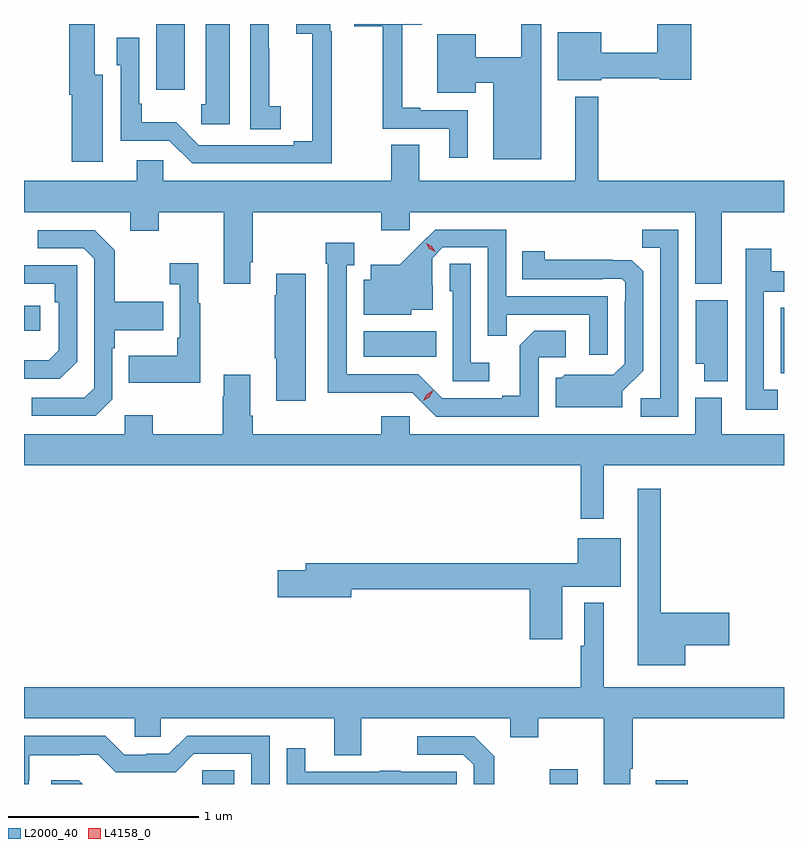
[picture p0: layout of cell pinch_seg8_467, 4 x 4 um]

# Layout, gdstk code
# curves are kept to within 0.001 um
import gdstk
lib = gdstk.Library(unit=1e-6, precision=1e-09)
def R(c, l, rs):  # rectangles x0, y0, x1, y1
    for r in rs: c.add(gdstk.rectangle(r[:2], r[2:], *l))
def P(c, l, *ps):  # polygons
    for p in ps: c.add(gdstk.Polygon(p, *l))
L2000_40 = (2000, 40)
L4158_0 = (4158, 0)

pinch_seg8_467 = lib.new_cell('pinch_seg8_467')
R(pinch_seg8_467, L2000_40, [(214.446,1140.13,214.614,1140.203), (216.273,1140.13,216.421,1140.208), (216.833,1140.13,217.001,1140.151), (217.49,1142.293,217.507,1142.636), (215.294,1142.378,215.678,1142.512), (213.507,1142.516,213.592,1142.646), (214.202,1143.783,214.354,1144.13)])
P(pinch_seg8_467, L2000_40, [(213.922,1143.862),(213.88,1143.862),(213.88,1144.13),(213.746,1144.13),(213.746,1143.758),(213.758,1143.758),(213.758,1143.405),(213.922,1143.405)],
  [(215.126,1144.091),(215.12,1144.091),(215.12,1144.13),(214.941,1144.13),(214.941,1144.078),(215.023,1144.078),(215.024,1143.512),(214.928,1143.512),(214.928,1143.492),(214.428,1143.492),(214.307,1143.613),(214.126,1143.613),(214.126,1143.709),(214.113,1143.709),(214.113,1144.057),(213.996,1144.057),(213.996,1143.912),(214.017,1143.912),(214.017,1143.516),(214.272,1143.516),(214.392,1143.396),(215.126,1143.396)],
  [(216.229,1144.13),(216.125,1144.13),(216.125,1143.956),(215.884,1143.956),(215.884,1144.077),(215.681,1144.077),(215.681,1143.767),(215.884,1143.767),(215.884,1143.82),(215.978,1143.82),(215.978,1143.419),(216.229,1143.419)],
  [(214.858,1143.697),(214.797,1143.697),(214.797,1144.001),(214.795,1144.001),(214.795,1144.13),(214.698,1144.13),(214.698,1143.577),(214.858,1143.577)],
  [(215.842,1143.675),(215.593,1143.675),(215.593,1143.688),(215.498,1143.688),(215.498,1144.125),(215.597,1144.125),(215.602,1144.13),(215.244,1144.13),(215.244,1144.117),(215.395,1144.117),(215.395,1143.579),(215.744,1143.579),(215.744,1143.426),(215.842,1143.426)],
  [(214.591,1144.13),(214.463,1144.13),(214.463,1143.708),(214.441,1143.708),(214.441,1143.603),(214.591,1143.603)],
  [(216.544,1143.844),(216.852,1143.844),(216.852,1143.836),(217.019,1143.836),(217.019,1144.13),(216.841,1144.13),(216.841,1143.98),(216.544,1143.98),(216.544,1144.087),(216.317,1144.087),(216.317,1143.833),(216.544,1143.833)],
  [(217.18,1143.14),(217.507,1143.14),(217.507,1143.304),(216.529,1143.304),(216.529,1143.748),(216.407,1143.748),(216.407,1143.304),(215.587,1143.304),(215.587,1143.494),(215.44,1143.494),(215.44,1143.304),(214.239,1143.304),(214.239,1143.414),(214.1,1143.414),(214.1,1143.304),(213.507,1143.304),(213.507,1143.14),(214.067,1143.14),(214.067,1143.041),(214.215,1143.041),(214.215,1143.14),(214.559,1143.14),(214.559,1142.763),(214.699,1142.763),(214.699,1142.875),(214.712,1142.875),(214.712,1143.14),(215.387,1143.14),(215.387,1143.045),(215.538,1143.045),(215.538,1143.14),(217.04,1143.14),(217.04,1142.762),(217.18,1142.762)],
  [(216.579,1142.697),(216.045,1142.697),(216.045,1143.048),(215.672,1143.048),(215.485,1142.863),(215.333,1142.863),(215.333,1142.785),(215.294,1142.785),(215.294,1142.6),(215.544,1142.6),(215.544,1142.627),(215.659,1142.627),(215.659,1142.756),(215.655,1142.756),(215.655,1142.898),(215.712,1142.955),(215.949,1142.955),(215.949,1142.488),(216.047,1142.488),(216.047,1142.601),(216.483,1142.601),(216.483,1142.388),(216.579,1142.388)],
  [(216.951,1143.048),(216.76,1143.048),(216.76,1142.953),(216.855,1142.953),(216.855,1142.16),(216.753,1142.16),(216.753,1142.064),(216.951,1142.064)],
  [(213.972,1142.154),(213.972,1142.423),(213.985,1142.423),(213.985,1142.519),(214.241,1142.519),(214.241,1142.667),(213.985,1142.667),(213.985,1142.939),(213.879,1143.045),(213.579,1143.045),(213.579,1142.949),(213.822,1142.949),(213.876,1142.895),(213.876,1142.214),(213.825,1142.163),(213.549,1142.163),(213.549,1142.067),(213.885,1142.067)],
  [(216.216,1142.376),(216.358,1142.376),(216.358,1142.516),(216.193,1142.516),(216.117,1142.44),(216.117,1142.173),(216.023,1142.173),(216.023,1142.16),(215.709,1142.16),(215.583,1142.286),(215.206,1142.286),(215.206,1142.859),(215.245,1142.859),(215.245,1142.98),(215.095,1142.98),(215.095,1142.867),(215.105,1142.867),(215.105,1142.189),(215.55,1142.19),(215.676,1142.064),(216.216,1142.064)],
  [(217.474,1142.205),(217.401,1142.205),(217.401,1142.721),(217.507,1142.721),(217.507,1142.83),(217.441,1142.83),(217.441,1142.947),(217.305,1142.947),(217.305,1142.1),(217.474,1142.1)],
  [(216.655,1142.196),(216.765,1142.306),(216.765,1142.828),(216.706,1142.887),(216.249,1142.888),(216.249,1142.935),(216.13,1142.935),(216.13,1142.787),(216.554,1142.787),(216.554,1142.79),(216.654,1142.79),(216.672,1142.772),(216.672,1142.672),(216.669,1142.672),(216.669,1142.343),(216.609,1142.283),(216.352,1142.284),(216.336,1142.268),(216.305,1142.268),(216.305,1142.114),(216.655,1142.114)],
  [(214.435,1142.659),(214.423,1142.659),(214.423,1142.872),(214.275,1142.872),(214.275,1142.759),(214.326,1142.759),(214.326,1142.479),(214.314,1142.479),(214.314,1142.383),(214.057,1142.383),(214.057,1142.243),(214.435,1142.243)],
  [(215.956,1142.347),(215.859,1142.347),(215.859,1142.867),(215.748,1142.867),(215.748,1142.724),(215.763,1142.724),(215.763,1142.25),(215.956,1142.25)],
  [(213.786,1142.352),(213.786,1142.859),(213.507,1142.859),(213.507,1142.763),(213.67,1142.763),(213.67,1142.666),(213.69,1142.666),(213.69,1142.412),(213.637,1142.359),(213.507,1142.359),(213.507,1142.262),(213.696,1142.262)],
  [(214.99,1142.815),(214.835,1142.815),(214.835,1142.702),(214.828,1142.702),(214.828,1142.371),(214.835,1142.371),(214.835,1142.148),(214.99,1142.148)],
  [(217.21,1142.677),(217.043,1142.677),(217.043,1142.342),(217.088,1142.342),(217.088,1142.249),(217.21,1142.249)],
  [(216.559,1141.808),(217.507,1141.808),(217.507,1141.972),(217.18,1141.972),(217.18,1142.164),(217.04,1142.164),(217.04,1141.972),(215.538,1141.972),(215.538,1142.065),(215.387,1142.065),(215.387,1141.972),(214.712,1141.972),(214.712,1142.068),(214.699,1142.068),(214.699,1142.284),(214.559,1142.284),(214.559,1142.171),(214.552,1142.171),(214.552,1141.972),(214.185,1141.972),(214.185,1142.071),(214.038,1142.071),(214.038,1141.972),(213.507,1141.972),(213.507,1141.808),(216.438,1141.808),(216.438,1141.527),(216.559,1141.527)],
  [(216.988,1140.86),(217.219,1140.86),(217.219,1141.031),(216.859,1141.031),(216.859,1141.684),(216.737,1141.684),(216.737,1140.755),(216.988,1140.755)],
  [(216.34,1141.169),(216.649,1141.169),(216.649,1141.423),(216.422,1141.423),(216.422,1141.292),(214.991,1141.292),(214.991,1141.256),(214.842,1141.256),(214.842,1141.114),(215.23,1141.114),(215.23,1141.156),(216.17,1141.156),(216.17,1140.891),(216.34,1140.891)],
  [(216.697,1140.211),(216.71,1140.211),(216.71,1140.476),(217.507,1140.476),(217.507,1140.64),(216.559,1140.64),(216.559,1141.084),(216.455,1141.084),(216.455,1140.857),(216.438,1140.857),(216.438,1140.64),(213.507,1140.64),(213.507,1140.476),(214.089,1140.476),(214.089,1140.378),(214.227,1140.378),(214.227,1140.476),(215.141,1140.476),(215.141,1140.282),(215.281,1140.282),(215.281,1140.476),(216.065,1140.476),(216.065,1140.377),(216.213,1140.377),(216.213,1140.476),(216.557,1140.476),(216.557,1140.13),(216.697,1140.13)],
  [(213.532,1140.147),(213.534,1140.147),(213.534,1140.281),(213.797,1140.281),(213.797,1140.285),(213.897,1140.285),(213.99,1140.192),(214.305,1140.192),(214.401,1140.288),(214.704,1140.288),(214.704,1140.13),(214.8,1140.13),(214.8,1140.384),(214.365,1140.384),(214.269,1140.288),(214.151,1140.288),(214.151,1140.285),(214.035,1140.285),(213.935,1140.385),(213.507,1140.385),(213.507,1140.13),(213.532,1140.13)],
  [(215.983,1140.275),(215.877,1140.381),(215.577,1140.381),(215.577,1140.285),(215.82,1140.285),(215.874,1140.231),(215.874,1140.13),(215.983,1140.13)],
  [(215.784,1140.195),(215.489,1140.195),(215.489,1140.2),(215.377,1140.2),(215.377,1140.195),(214.987,1140.195),(214.987,1140.319),(214.891,1140.319),(214.891,1140.13),(215.784,1140.13)],
  [(213.794,1140.151),(213.651,1140.151),(213.651,1140.13),(213.815,1140.13)])
P(pinch_seg8_467, L4158_0, [(215.608,1142.147),(215.608,1142.147),(215.625,1142.18),(215.656,1142.199),(215.657,1142.199),(215.657,1142.198),(215.639,1142.166),(215.608,1142.147)],
  [(215.672,1142.932),(215.641,1142.946),(215.623,1142.975),(215.623,1142.976),(215.623,1142.976),(215.654,1142.961),(215.672,1142.932),(215.672,1142.932)])

lib.write_gds('pinch_seg8_467.gds')
